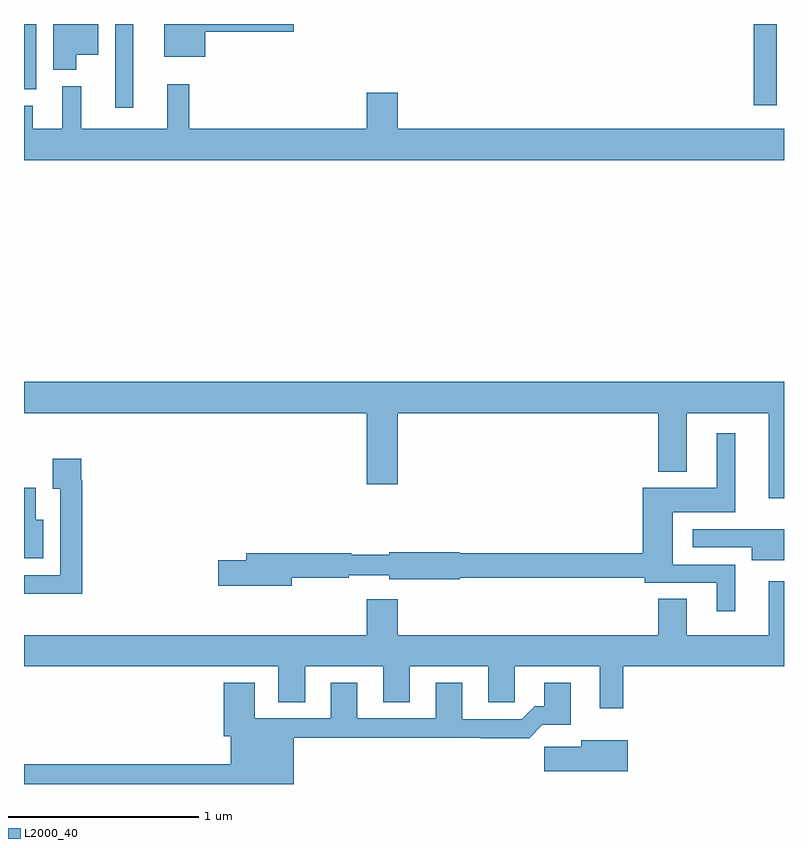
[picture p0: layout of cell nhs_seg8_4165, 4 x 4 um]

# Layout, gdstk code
import gdstk
lib = gdstk.Library(unit=1e-6, precision=1e-09)
def R(c, l, rs):  # rectangles x0, y0, x1, y1
    for r in rs: c.add(gdstk.rectangle(r[:2], r[2:], *l))
def P(c, l, *ps):  # polygons
    for p in ps: c.add(gdstk.Polygon(p, *l))
L2000_40 = (2000, 40)

nhs_seg8_4165 = lib.new_cell('nhs_seg8_4165')
R(nhs_seg8_4165, L2000_40, [(367.479,1099.458,367.576,1099.9), (370.842,1099.473,370.963,1099.9), (367,1099.556,367.065,1099.9)])
P(nhs_seg8_4165, L2000_40, [(367.276,1099.739),(367.39,1099.739),(367.39,1099.9),(367.154,1099.9),(367.154,1099.658),(367.276,1099.658)],
  [(367.954,1099.859),(368.419,1099.859),(368.419,1099.9),(367.739,1099.9),(367.739,1099.727),(367.954,1099.727)],
  [(371,1099.348),(368.968,1099.348),(368.968,1099.537),(368.804,1099.537),(368.804,1099.348),(367.871,1099.348),(367.871,1099.582),(367.754,1099.582),(367.754,1099.348),(367.301,1099.348),(367.301,1099.573),(367.202,1099.573),(367.202,1099.348),(367.045,1099.348),(367.045,1099.471),(367,1099.471),(367,1099.184),(371,1099.184)],
  [(371,1098.016),(367,1098.016),(367,1097.852),(368.804,1097.852),(368.804,1097.478),(368.968,1097.478),(368.968,1097.852),(370.337,1097.852),(370.337,1097.543),(370.489,1097.543),(370.489,1097.852),(370.919,1097.852),(370.919,1097.403),(371,1097.403)],
  [(370.744,1097.055),(370.414,1097.055),(370.414,1097.33),(370.744,1097.33),(370.744,1097.746),(370.646,1097.746),(370.646,1097.458),(370.256,1097.458),(370.256,1097.114),(369.294,1097.114),(369.294,1097.12),(368.922,1097.12),(368.922,1097.107),(368.722,1097.107),(368.722,1097.114),(368.171,1097.114),(368.171,1097.078),(368.022,1097.078),(368.022,1096.943),(368.41,1096.943),(368.41,1096.986),(368.708,1096.986),(368.708,1096.998),(368.922,1096.998),(368.922,1096.978),(369.294,1096.978),(369.294,1096.986),(370.268,1096.986),(370.268,1096.959),(370.646,1096.959),(370.646,1096.809),(370.744,1096.809)],
  [(367.307,1097.498),(367.3,1097.498),(367.3,1097.611),(367.151,1097.611),(367.151,1097.455),(367.191,1097.455),(367.191,1096.998),(367,1096.998),(367,1096.902),(367.015,1096.902),(367.015,1096.901),(367.307,1096.901)],
  [(367.102,1097.29),(367.063,1097.29),(367.063,1097.458),(367,1097.458),(367,1097.087),(367.102,1097.087)],
  [(371,1097.242),(370.833,1097.242),(370.833,1097.241),(370.521,1097.241),(370.521,1097.145),(370.829,1097.145),(370.829,1097.077),(371,1097.077)],
  [(370.153,1096.52),(371,1096.52),(371,1096.966),(370.919,1096.966),(370.919,1096.684),(370.489,1096.684),(370.489,1096.874),(370.337,1096.874),(370.337,1096.684),(368.968,1096.684),(368.968,1096.873),(368.804,1096.873),(368.804,1096.684),(367,1096.684),(367,1096.52),(368.339,1096.52),(368.339,1096.33),(368.479,1096.33),(368.479,1096.52),(368.891,1096.52),(368.891,1096.33),(369.031,1096.33),(369.031,1096.52),(369.443,1096.52),(369.443,1096.33),(369.582,1096.33),(369.582,1096.52),(370.031,1096.52),(370.031,1096.299),(370.153,1096.299)],
  [(368.419,1096.144),(369.403,1096.144),(369.403,1096.142),(369.659,1096.142),(369.728,1096.211),(369.877,1096.211),(369.877,1096.432),(369.737,1096.432),(369.737,1096.309),(369.688,1096.309),(369.621,1096.242),(369.307,1096.242),(369.307,1096.432),(369.167,1096.432),(369.167,1096.245),(368.755,1096.245),(368.755,1096.432),(368.615,1096.432),(368.615,1096.245),(368.215,1096.245),(368.215,1096.432),(368.051,1096.432),(368.051,1096.152),(368.087,1096.152),(368.087,1096.004),(367,1096.004),(367,1095.9),(368.419,1095.9)],
  [(370.177,1096.129),(369.932,1096.129),(369.932,1096.097),(369.738,1096.097),(369.738,1095.968),(370.177,1095.968)])

lib.write_gds('nhs_seg8_4165.gds')
